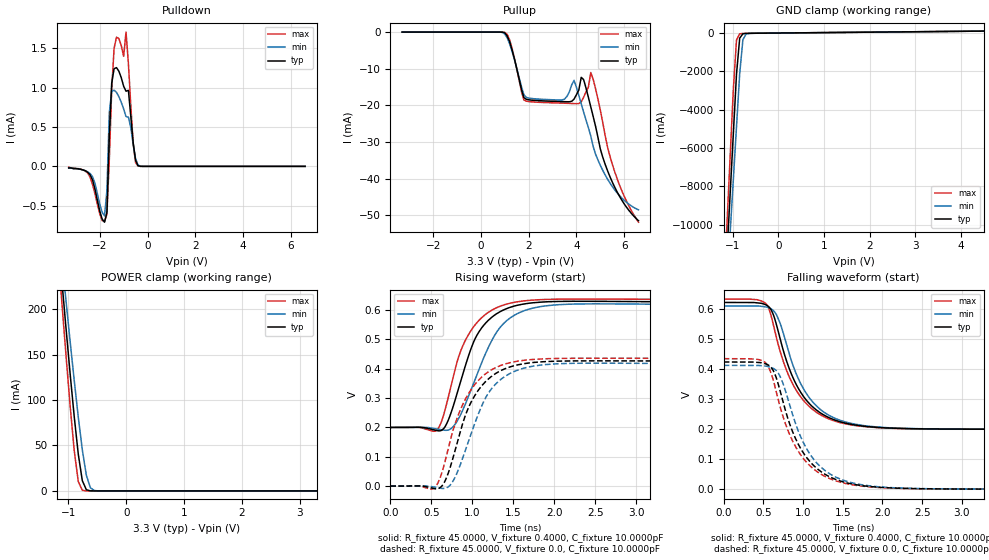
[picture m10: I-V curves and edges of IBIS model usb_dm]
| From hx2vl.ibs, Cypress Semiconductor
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|   Model usb_dm
[Model]  usb_dm
Model_type I/O
Polarity   Inverting
Enable   Active-High
Vinl =   100.0000mV
Vinh =   0.3000V
C_comp   2.2040pF   2.1858pF   2.5471pF
[Model Spec]
Vmeas   0.20V   0.18V   0.22V
[Temperature Range]   25.0000   80.0000   -20.0000
[Voltage Range]   3.3000V   3.0000V   3.6000V
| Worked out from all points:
|   GND clamp passes 1 mA (typ) near -0.04 V on its own axis
|   POWER clamp passes 1 mA (typ) near -0.67 V on its own axis
|   rising waveform, R_fixture 45.0000, V_fixture 0.4000, C_fixture 10.0000pF: 20-80 % time 332ps typ, 390ps min, 335ps max; typ from 0.2 V to 0.624 V
|   rising waveform, R_fixture 45.0000, V_fixture 0.0, C_fixture 10.0000pF: 20-80 % time 356ps typ, 366ps min, 366ps max; typ from 0 V to 0.425 V
|   falling waveform, R_fixture 45.0000, V_fixture 0.4000, C_fixture 10.0000pF: 20-80 % time 407ps typ, 411ps min, 409ps max; typ from 0.623 V to 0.2 V
|   falling waveform, R_fixture 45.0000, V_fixture 0.0, C_fixture 10.0000pF: 20-80 % time 412ps typ, 414ps min, 413ps max; typ from 0.425 V to 0 V
[Pulldown]
|Voltage   I(typ)   I(min)   I(max)
-3.3V     -20uA      -20uA      -10uA
-2.4V     -110uA     -92uA      -141uA
-1.8V     -709uA     -629uA     -699uA
-1.7V     -581uA     -305uA     -610uA
-1.6V     388uA      681uA      89uA
-1.5V     1.056mA    951uA      972uA
-1.4V     1.241mA    968uA      1.498mA
-1V       1.018mA    729.8uA    1.398mA
-900mV    954.5uA    632.4uA    1.705mA
-600mV    298.5uA    275.5uA    288.8uA
-400mV    9.389uA    18.96uA    3.728uA
6.6V      0A         0A         0A
[Pullup]
|Voltage   I(typ)   I(min)   I(max)
-3.3V     0A         0A         0A
900mV     -25.93uA   -99.28uA   -5.372uA
1.2V      -2.625mA   -3.179mA   -2.08mA
1.7V      -15.69mA   -14.96mA   -16.31mA
1.9V      -18.36mA   -17.84mA   -18.87mA
3.5V      -19.01mA   -18.31mA   -19.43mA
3.9V      -18.32mA   -13.18mA   -19.54mA
4.2V      -12.36mA   -19.57mA   -19.08mA
4.6V      -20.43mA   -28.36mA   -11.05mA
5V        -31.91mA   -36.4mA    -21.31mA
5.5V      -40.94mA   -42.17mA   -36.05mA
6.6V      -51.52mA   -48.56mA   -51.93mA
[GND_clamp]
|Voltage   I(typ)   I(min)   I(max)
-3.3V     -109.3A    -99.7A     -119.5A
-1.13V    -11.57A    -13.24A    -10A
-1.06V    -8.421A    -10.45A    -6.482A
-990mV    -5.277A    -7.671A    -2.966A
-920mV    -2.14A     -4.892A    -362.3mA
-850mV    -267.4mA   -2.118A    -40.81mA
-780mV    -39.16mA   -350.5mA   -21.87mA
-710mV    -19.41mA   -55.3mA    -18.07mA
-640mV    -15.59mA   -19.56mA   -15.28mA
6.58V     146.2mA    146.2mA    146.2mA
[POWER_clamp]
|Voltage   I(typ)   I(min)   I(max)
-3.28V    1.919A     1.726A     2.127A
-1.18V    279.9mA    297.6mA    262.6mA
-1.11V    228.1mA    252.3mA    204.1mA
-1.04V    177.4mA    207.6mA    147.2mA
-970mV    128.2mA    163.9mA    92.92mA
-900mV    81.68mA    121.5mA    44.33mA
-830mV    40.42mA    81.27mA    10.29mA
-760mV    11.24mA    45.13mA    710.9uA
-690mV    1.253mA    17.18mA    31.63uA
-620mV    91.59uA    3.4mA      1.36uA
-550mV    6.365uA    409.2uA    56nA
3.3V      0A         0A         0A
[Ramp]
| variable   typ   min   max
dV/dt_r  0.2544/0.2036n   0.2481/0.2757n   0.2607/0.1591n
dV/dt_f  0.1175/96.8325p   86.4887m/0.1076n   0.1537/91.4070p
R_load = 45.0000
[Rising Waveform]
R_fixture= 45.0000
V_fixture= 0.4000
V_fixture_min= 0.4000
V_fixture_max= 0.4000
C_fixture= 10.0000pF
|time   V(typ)   V(min)   V(max)
0s        200mV      200mV      200mV
567ps     189.3mV    194.9mV    190.6mV
658ps     198.4mV    190.5mV    249.6mV
757ps     262.9mV    199.7mV    359.6mV
887ps     383.8mV    260.7mV    479.8mV
1.077ns   523.8mV    394.6mV    563.6mV
1.307ns   589.4mV    528.7mV    609.5mV
1.547ns   616.4mV    587.6mV    628.4mV
2.387ns   630.3mV    621.4mV    637.8mV
10ns      623.8mV    612.5mV    634.7mV
[Rising Waveform]
R_fixture= 45.0000
V_fixture= 0.0
V_fixture_min= 0.0
V_fixture_max= 0.0
C_fixture= 10.0000pF
|time   V(typ)   V(min)   V(max)
0s        0V         0V         0V
537ps     -8.828mV   -3.531mV   -6.719mV
617ps     -3.256mV   -7.558mV   34.94mV
717ps     52.06mV    -374.7uV   139.2mV
866ps     197mV      81.74mV    267.1mV
1.047ns   315.8mV    225.9mV    351.8mV
1.247ns   376.5mV    335.9mV    398.3mV
1.576ns   414.6mV    397.6mV    427mV
2.436ns   427.1mV    419.2mV    436mV
10ns      424.7mV    413.8mV    435.6mV
[Falling Waveform]
R_fixture= 45.0000
V_fixture= 0.4000
V_fixture_min= 0.4000
V_fixture_max= 0.4000
C_fixture= 10.0000pF
|time   V(typ)   V(min)   V(max)
0s        623.4mV    611.6mV    634.6mV
487ps     619.6mV    610.3mV    627.1mV
558ps     611.2mV    606.6mV    609.1mV
618ps     587.3mV    598.2mV    557.2mV
697ps     516.1mV    563.4mV    472.8mV
787ps     431.6mV    486.7mV    399.5mV
996ps     312.8mV    339.2mV    299.1mV
1.247ns   249.8mV    260mV      244.1mV
1.628ns   215.3mV    218.3mV    213.5mV
10ns      200mV      200mV      200mV
[Falling Waveform]
R_fixture= 45.0000
V_fixture= 0.0
V_fixture_min= 0.0
V_fixture_max= 0.0
C_fixture= 10.0000pF
|time   V(typ)   V(min)   V(max)
0s        424.6mV    413.3mV    435.6mV
507ps     420.1mV    411.6mV    426.2mV
587ps     409.1mV    407.3mV    393.9mV
657ps     375.7mV    397.2mV    330.5mV
827ps     220.9mV    285mV      184.3mV
1.028ns   111.5mV    142.8mV    94.44mV
1.267ns   51.19mV    64.04mV    43.76mV
1.618ns   17.16mV    21.21mV    14.71mV
2.777ns   686.8uV    907.2uV    558.8uV
10ns      0V         0V         0V
